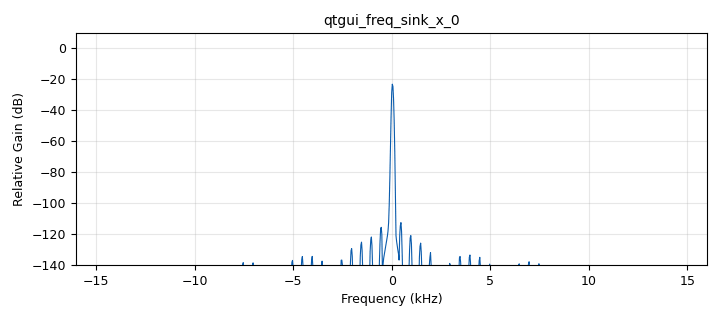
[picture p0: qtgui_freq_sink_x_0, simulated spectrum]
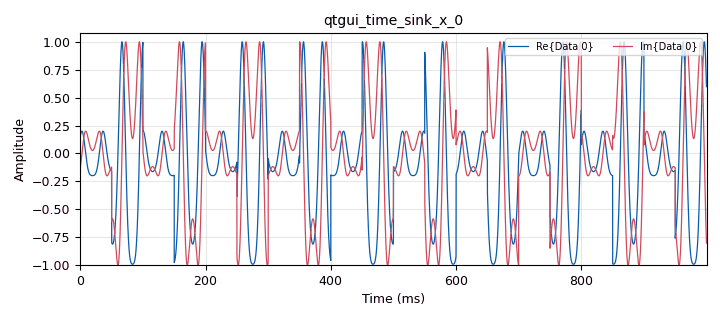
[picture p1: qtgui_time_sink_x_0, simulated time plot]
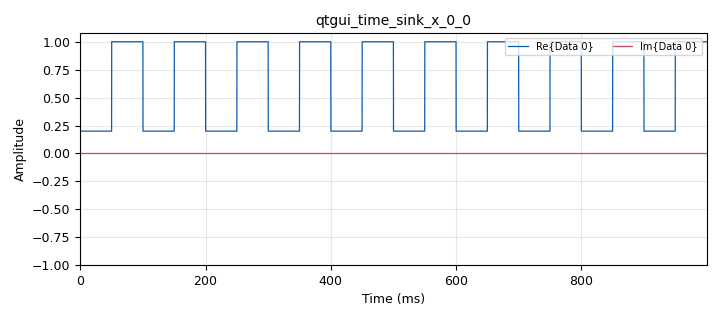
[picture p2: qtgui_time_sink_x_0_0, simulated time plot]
options:
  parameters:
    author: kaise
    generate_options: qt_gui
    id: part_3
    output_language: python
    title: Not titled yet
  states: {}

blocks:
- name: mod_selector
  id: variable_qtgui_chooser
  parameters:
    label0: NBFM
    label1: AM
    num_opts: '2'
    option0: '0'
    option1: '1'
    type: int
    value: '0'
  states: {}
- name: samp_rate
  id: variable
  parameters:
    value: '32000'
  states: {}
- name: analog_const_source_x_0
  id: analog_const_source_x
  parameters:
    const: '0'
    type: float
  states: {}
- name: analog_const_source_x_0_0
  id: analog_const_source_x
  parameters:
    const: '0'
    type: float
  states: {}
- name: analog_nbfm_tx_0
  id: analog_nbfm_tx
  parameters:
    audio_rate: '32000'
    fh: '-1.0'
    max_dev: 5e3
    quad_rate: '32000'
    tau: '75e-6'
  states: {}
- name: analog_sig_source_x_0
  id: analog_sig_source_x
  parameters:
    amp: '0.5'
    freq: '1000'
    offset: '0'
    phase: '0'
    samp_rate: samp_rate
    type: float
    waveform: analog.GR_COS_WAVE
  states: {}
- name: analog_sig_source_x_1
  id: analog_sig_source_x
  parameters:
    amp: '0.8'
    freq: '10'
    offset: '0.2'
    phase: '0'
    samp_rate: samp_rate
    type: float
    waveform: analog.GR_SQR_WAVE
  states: {}
- name: blocks_add_const_vxx_0
  id: blocks_add_const_vxx
  parameters:
    const: '1'
    type: float
  states: {}
- name: blocks_float_to_complex_0
  id: blocks_float_to_complex
  parameters: {}
  states: {}
- name: blocks_float_to_complex_1
  id: blocks_float_to_complex
  parameters: {}
  states: {}
- name: blocks_multiply_xx_0
  id: blocks_multiply_xx
  parameters:
    type: complex
  states: {}
- name: blocks_selector_0
  id: blocks_selector
  parameters:
    enabled: 'True'
    input_index: mod_selector
    num_inputs: '2'
    num_outputs: '1'
    output_index: '0'
    type: complex
  states: {}
- name: qtgui_freq_sink_x_0
  id: qtgui_freq_sink_x
  parameters:
    bw: samp_rate
    fc: '0'
    fftsize: '1024'
    type: complex
  states: {}
- name: qtgui_time_sink_x_0
  id: qtgui_time_sink_x
  parameters:
    size: '32000'
    srate: samp_rate
    type: complex
  states: {}
- name: qtgui_time_sink_x_0_0
  id: qtgui_time_sink_x
  parameters:
    size: '32000'
    srate: samp_rate
    type: complex
  states: {}
- name: rational_resampler_xxx_0
  id: rational_resampler_xxx
  parameters:
    decim: '1'
    interp: '64'
    type: ccc
  states: {}

connections:
- [analog_const_source_x_0, '0', blocks_float_to_complex_0, '1']
- [analog_const_source_x_0_0, '0', blocks_float_to_complex_1, '1']
- [analog_nbfm_tx_0, '0', blocks_selector_0, '0']
- [analog_sig_source_x_0, '0', analog_nbfm_tx_0, '0']
- [analog_sig_source_x_0, '0', blocks_add_const_vxx_0, '0']
- [analog_sig_source_x_1, '0', blocks_float_to_complex_1, '0']
- [blocks_add_const_vxx_0, '0', blocks_float_to_complex_0, '0']
- [blocks_float_to_complex_0, '0', blocks_selector_0, '1']
- [blocks_float_to_complex_1, '0', blocks_multiply_xx_0, '1']
- [blocks_float_to_complex_1, '0', qtgui_time_sink_x_0_0, '0']
- [blocks_multiply_xx_0, '0', qtgui_freq_sink_x_0, '0']
- [blocks_multiply_xx_0, '0', qtgui_time_sink_x_0, '0']
- [blocks_selector_0, '0', rational_resampler_xxx_0, '0']
- [rational_resampler_xxx_0, '0', blocks_multiply_xx_0, '0']

metadata:
  file_format: 1
  grc_version: 3.10.12.0
